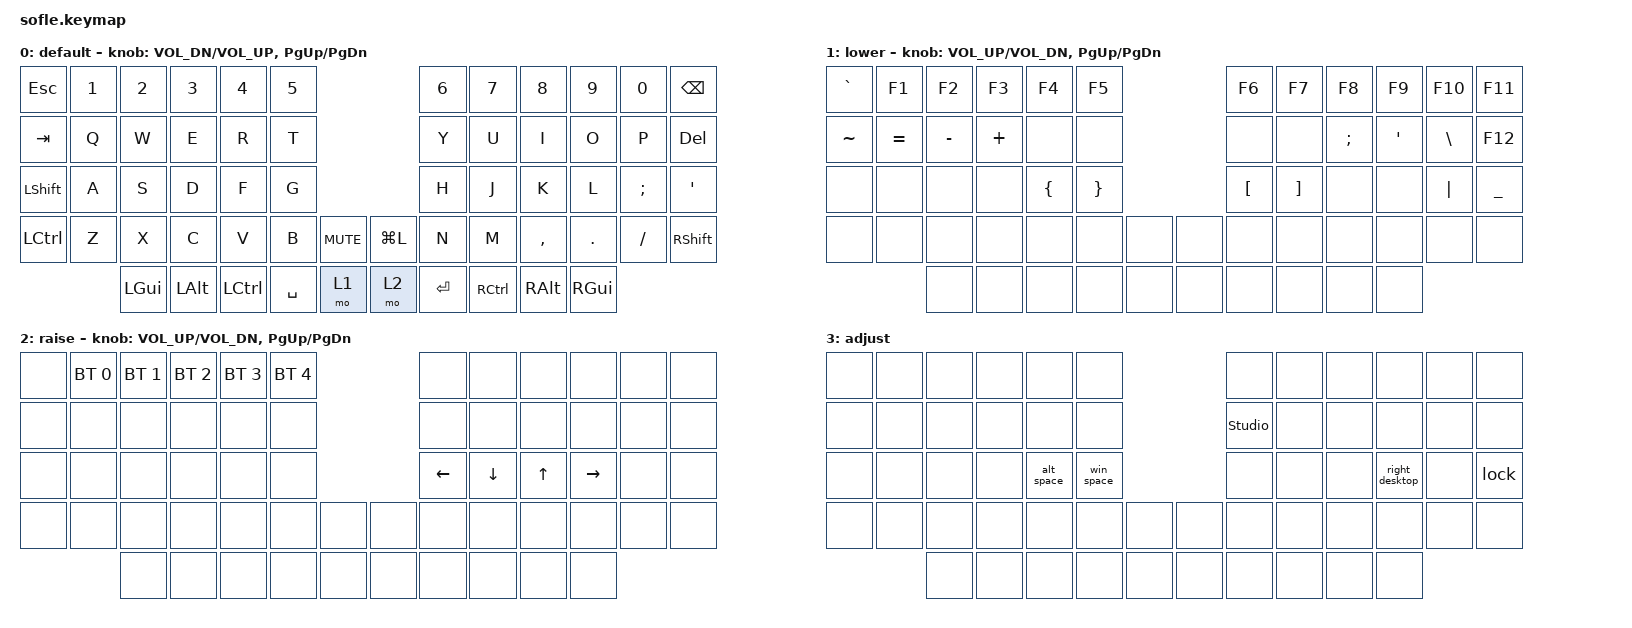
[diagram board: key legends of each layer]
/*
 * Copyright (c) 2020 The ZMK Contributors
 *
 * SPDX-License-Identifier: MIT
 */

#include <behaviors.dtsi>
#include <dt-bindings/zmk/bt.h>
#include <dt-bindings/zmk/keys.h>

#define BASE 0
#define LOWER 1
#define RAISE 2
#define ADJUST 3

/ {
    // Activate ADJUST layer by pressing raise and lower

    conditional_layers {
        compatible = "zmk,conditional-layers";

        adjust_layer {
            if-layers = <LOWER RAISE>;
            then-layer = <ADJUST>;
        };
    };

    macros {
        tmux_leader: tmux_leader {
            compatible = "zmk,behavior-macro";
            #binding-cells = <0>;
            bindings = <&kp LC(SPACE)>;
            label = "TMUX_LEADER";
        };

        tmux_group_split: tmux_group_split {
            compatible = "zmk,behavior-macro";
            #binding-cells = <0>;
            bindings = <&kp LC(SPACE) &kp S>;
            label = "TMUX_GROUP_SPLIT";
        };

        tmux_group_windows: tmux_group_windows {
            compatible = "zmk,behavior-macro";
            #binding-cells = <0>;
            bindings = <&kp LC(SPACE) &kp W>;
            label = "TMUX_GROUP_WINDOWS";
        };

        tmux_group_panes: tmux_group_panes {
            compatible = "zmk,behavior-macro";
            #binding-cells = <0>;
            bindings = <&kp LC(SPACE) &kp P>;
            label = "TMUX_GROUP_PANES";
        };

        tmux_group_sessions: tmux_group_sessions {
            compatible = "zmk,behavior-macro";
            #binding-cells = <0>;
            bindings = <&kp LC(SPACE) &kp T>;
            label = "TMUX_GROUP_SESSIONS";
        };

        nvim_group_action: nvim_group_action {
            compatible = "zmk,behavior-macro";
            #binding-cells = <0>;
            bindings = <&kp SPACE &kp A>;
            label = "NVIM_GROUP_ACTION";
        };

        nvim_group_split: nvim_group_split {
            compatible = "zmk,behavior-macro";
            #binding-cells = <0>;
            bindings = <&kp SPACE &kp S>;
            label = "NVIM_GROUP_SPLIT";
        };

        nvim_group_find: nvim_group_find {
            compatible = "zmk,behavior-macro";
            #binding-cells = <0>;
            bindings = <&kp SPACE &kp F>;
            label = "NVIM_GROUP_FIND";
        };

        nvim_group_git: nvim_group_git {
            compatible = "zmk,behavior-macro";
            #binding-cells = <0>;
            bindings = <&kp SPACE &kp G>;
            label = "NVIM_GROUP_GIT";
        };

        nvim_group_term: nvim_group_term {
            compatible = "zmk,behavior-macro";
            #binding-cells = <0>;
            bindings = <&kp SPACE &kp T>;
            label = "NVIM_GROUP_TERM";
        };

        nvim_toggle_tree: nvim_toggle_tree {
            compatible = "zmk,behavior-macro";
            #binding-cells = <0>;
            bindings = <&kp SPACE &kp E>;
            label = "NVIM_TOGGLE_TREE";
        };

        nvim_save: nvim_save {
            compatible = "zmk,behavior-macro";
            #binding-cells = <0>;
            bindings = <&kp LC(S)>;
            label = "NVIM_SAVE";
        };

        hunt_and_pick: hunt_and_pick {
            compatible = "zmk,behavior-macro";
            #binding-cells = <0>;
            bindings = <&kp LS(SPACE)>;
            label = "HUNT_AND_PICK";
        };

        alt_space: alt_space {
            compatible = "zmk,behavior-macro";
            #binding-cells = <0>;
            bindings = <&kp LA(SPACE)>;
            label = "ALT_SPACE";
        };

        win_space: win_space {
            compatible = "zmk,behavior-macro";
            #binding-cells = <0>;
            bindings = <&kp LG(SPACE)>;
            label = "WIN_SPACE";
        };

        lock: lock {
            compatible = "zmk,behavior-macro";
            #binding-cells = <0>;
            bindings = <&kp LC(RA(DEL))>;
            label = "LOCK";
        };

        right_desktop: right_desktop {
            compatible = "zmk,behavior-macro";
            #binding-cells = <0>;
            bindings = <&kp RG(RC(RIGHT))>;
            label = "RIGHT_DESKTOP";
        };

        left_desktop: left_desktop {
            compatible = "zmk,behavior-macro";
            #binding-cells = <0>;
            bindings = <&kp RG(RC(LEFT))>;
            label = "LEFT_DESKTOP";
        };
    };

    keymap {
        compatible = "zmk,keymap";

        default_layer {
            display-name = "default";

            // ------------------------------------------------------------------------------------------------------------
            // |   `   |  1  |  2  |  3   |  4   |  5   |                   |  6   |  7    |  8    |  9   |   0   |       |
            // |  ESC  |  Q  |  W  |  E   |  R   |  T   |                   |  Y   |  U    |  I    |  O   |   P   | BKSPC |
            // |  TAB  |  A  |  S  |  D   |  F   |  G   |                   |  H   |  J    |  K    |  L   |   ;   |   '   |
            // | SHIFT |  Z  |  X  |  C   |  V   |  B   |  MUTE  |  |       |  N   |  M    |  ,    |  .   |   /   | SHIFT |
            //               | GUI | ALT  | CTRL | SPACE| LOWER  |  | RAISE | ENTER| CTRL  | ALT   | GUI  |

            bindings = <
&kp ESC         &kp N1  &kp N2    &kp N3    &kp N4     &kp N5                              &kp N6     &kp N7     &kp N8     &kp N9    &kp N0    &kp BACKSPACE
&kp TAB         &kp Q   &kp W     &kp E     &kp R      &kp T                               &kp Y      &kp U      &kp I      &kp O     &kp P     &kp DEL
&kp LEFT_SHIFT  &kp A   &kp S     &kp D     &kp F      &kp G                               &kp H      &kp J      &kp K      &kp L     &kp SEMI  &kp SQT
&kp LCTRL       &kp Z   &kp X     &kp C     &kp V      &kp B      &kp C_MUTE    &kp LG(L)  &kp N      &kp M      &kp COMMA  &kp DOT   &kp FSLH  &kp RSHFT
                        &kp LGUI  &kp LALT  &kp LCTRL  &kp SPACE  &mo 1         &mo 2      &kp ENTER  &kp RCTRL  &kp RALT   &kp RGUI
            >;

            sensor-bindings =
                <&inc_dec_kp C_VOL_DN C_VOL_UP>,
                <&inc_dec_kp PG_UP PG_DN>;
        };

        lower_layer {
            display-name = "lower";

            // TODO: Some binds are waiting for shifted keycode support.
            // ------------------------------------------------------------------------------------------------------------
            // |       |  F1 |  F2 |  F3  |  F4  |  F5  |                   |  F6  |  F7   |  F8   |  F9  |  F10  |  F11  |
            // |   `   |  1  |  2  |  3   |  4   |  5   |                   |  6   |  7    |  8    |  9   |   0   |  F12  |
            // |       |  !  |  @  |  #   |  $   |  %   |                   |  ^   |  &    |  *    |  (   |   )   |   |   |
            // |       |  =  |  -  |  +   |  {   |  }   |        |  |       |  [   |  ]    |  ;    |  :   |   \   |       |
            //               |     |      |      |      |        |  |       |      |       |       |      |

            bindings = <
&kp GRAVE  &kp F1     &kp F2     &kp F3    &kp F4    &kp F5                    &kp F6            &kp F7             &kp F8         &kp F9   &kp F10        &kp F11
&kp TILDE  &kp EQUAL  &kp MINUS  &kp PLUS  &none     &none                     &none             &none              &kp SEMICOLON  &kp SQT  &kp BACKSLASH  &kp F12
&none      &none      &none      &none     &kp LBRC  &kp RBRC                  &kp LEFT_BRACKET  &kp RIGHT_BRACKET  &none          &none    &kp PIPE       &kp UNDERSCORE
&none      &none      &none      &none     &none     &none     &none    &none  &none             &none              &none          &none    &none          &none
                      &none      &none     &none     &none     &none    &none  &none             &none              &none          &none
            >;

            sensor-bindings = <&inc_dec_kp C_VOL_UP C_VOL_DN &inc_dec_kp PG_UP PG_DN>;
        };

        raise_layer {
            display-name = "raise";

            // ------------------------------------------------------------------------------------------------------------
            // | BTCLR | BT1  | BT2  |  BT3  |  BT4  |  BT5 |                | USB  | BLE  | BTCLR | BT1  | BT2   | BT3   |
            // |       | INS  | PSCR | GUI   |       |      |                | BT4  | BT5  |   ^   |      |       |       |
            // |       | ALT  | CTRL | SHIFT |       | CAPS |                | PGDN |   <- |   v   |  ->  |  DEL  | BKSPC |
            // |       | UNDO | CUT  | COPY  | PASTE |      |      |  |      |      |      |       |      |       |       |
            //                |      |       |       |      |      |  |      |      |      |       |      |

            bindings = <
&none  &bt BT_SEL 0  &bt BT_SEL 1  &bt BT_SEL 2  &bt BT_SEL 3  &bt BT_SEL 4                  &none     &none           &none         &none      &none  &none
&none  &none         &none         &none         &none         &none                         &none     &none           &none         &none      &none  &none
&none  &none         &none         &none         &none         &none                         &kp LEFT  &kp DOWN_ARROW  &kp UP_ARROW  &kp RIGHT  &none  &none
&none  &none         &none         &none         &none         &none         &none    &none  &none     &none           &none         &none      &none  &none
                     &none         &none         &none         &none         &none    &none  &none     &none           &none         &none
            >;

            sensor-bindings = <&inc_dec_kp C_VOL_UP C_VOL_DN &inc_dec_kp PG_UP PG_DN>;
        };

        adjust_layer {
            // ----------------------------------------------------------------------------------------------------------------------------
            // | BTCLR  |  BT1    |  BT2    |   BT3   |   BT4   |   BT5   |                  |      |      |       |      |       |       |
            // | EXTPWR | RGB_HUD | RGB_HUI | RGB_SAD | RGB_SAI | RGB_EFF |                  |      |      |       |      |       |       |
            // |        | RGB_BRD | RGB_BRI |         |         |         |                  |      |      |       |      |       |       |
            // |        |         |         |         |         |         | RGB_TOG | |      |      |      |       |      |       |       |
            //                    |         |         |         |         |         | |      |      |      |       |      |

            display-name = "adjust";
            bindings = <
&none  &none  &none  &none  &none       &none                       &none           &none  &none  &none           &none  &none
&none  &none  &none  &none  &none       &none                       &studio_unlock  &none  &none  &none           &none  &none
&none  &none  &none  &none  &alt_space  &win_space                  &none           &none  &none  &right_desktop  &none  &lock
&none  &none  &none  &none  &none       &none       &none    &none  &none           &none  &none  &none           &none  &none
              &none  &none  &none       &none       &none    &none  &none           &none  &none  &none
            >;
        };
    };
};
